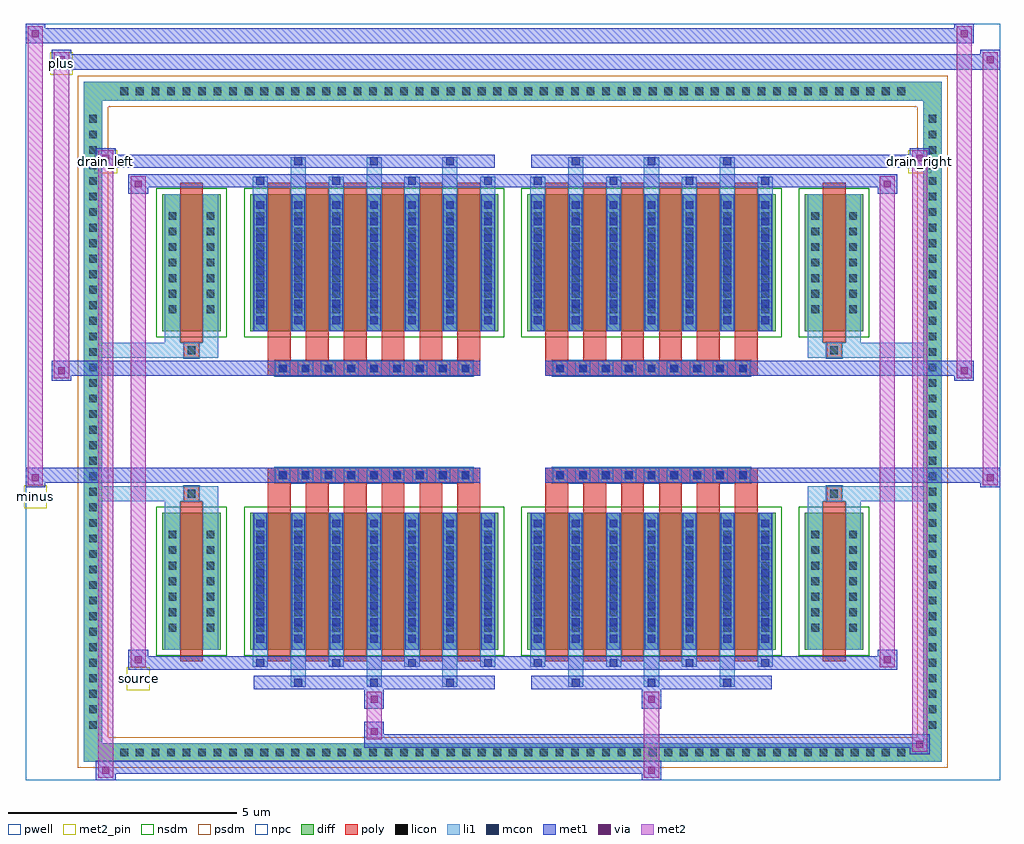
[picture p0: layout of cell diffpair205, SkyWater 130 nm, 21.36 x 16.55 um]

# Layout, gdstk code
import gdstk
lib = gdstk.Library(unit=1e-6, precision=5e-09)
def R(c, l, rs):  # rectangles x0, y0, x1, y1
    for r in rs: c.add(gdstk.rectangle(r[:2], r[2:], *l))
def A(c, l, x, y, w, h, nx, ny, dx, dy):  # array of equal rectangles
    R(c, l, [(x+i*dx, y+j*dy, x+i*dx+w, y+j*dy+h) for i in range(nx) for j in range(ny)])
def P(c, l, *ps):  # polygons
    for p in ps: c.add(gdstk.Polygon(p, *l))
pwell = (64, 44)
diff = (65, 20)
poly = (66, 20)
licon = (66, 44)
li1 = (67, 20)
mcon = (67, 44)
met1 = (68, 20)
via = (68, 44)
met2_pin = (69, 16)
met2 = (69, 20)
nsdm = (93, 44)
psdm = (94, 20)
npc = (95, 20)

diffpair205 = lib.new_cell('diffpair205')
R(diffpair205, pwell, [(-10.66,-7.84,10.66,8.71), (-7.98,-6.03,-0.01,-0.805), (0.01,-6.03,7.98,-0.805), (-7.98,0.805,-0.01,6.03), (0.01,0.805,7.98,6.03)])
A(diffpair205, diff, -8.705, -7.44, 0.41, 0.41, 51, 2, 0.34, 14.47)
A(diffpair205, diff, -9.39, -6.835, 0.41, 0.41, 1, 40, 0, 0.34)
A(diffpair205, diff, 8.98, -6.835, 0.41, 0.41, 1, 40, 0, 0.34)
R(diffpair205, diff, [(-8.705,-7.44,8.705,-7.03), (-9.39,-6.835,-8.98,6.835), (8.98,-6.835,9.39,6.835), (-7.67,-4.985,-6.39,-1.985), (-5.75,-4.985,-0.32,-1.985), (0.32,-4.985,5.75,-1.985), (6.39,-4.985,7.67,-1.985), (-7.67,1.985,-6.39,4.985), (-5.75,1.985,-0.32,4.985), (0.32,1.985,5.75,4.985), (6.39,1.985,7.67,4.985), (-8.705,7.03,8.705,7.44)])
P(diffpair205, diff, [(9.39,7.44),(-9.39,7.44),(-9.39,-7.03),(-8.98,-7.03),(-8.98,7.03),(8.98,7.03),(8.98,-7.03),(-8.98,-7.03),(-9.39,-7.03),(-9.39,-7.44),(9.39,-7.44)])
A(diffpair205, poly, -5.36, -5.235, 0.5, 3.5, 6, 2, 0.83, 6.97)
A(diffpair205, poly, 0.71, -5.235, 0.5, 3.5, 6, 2, 0.83, 6.97)
A(diffpair205, poly, -5.36, -1.735, 0.5, 0.4, 6, 2, 0.83, 3.07)
A(diffpair205, poly, 0.71, -1.735, 0.5, 0.4, 6, 2, 0.83, 3.07)
A(diffpair205, poly, -5.2, -1.335, 0.33, 0.33, 9, 2, 0.5, 2.34)
A(diffpair205, poly, 0.87, -1.335, 0.33, 0.33, 9, 2, 0.5, 2.34)
R(diffpair205, poly, [(-7.28,-5.235,-6.78,-1.735), (6.78,-5.235,7.28,-1.735), (-7.195,-1.735,-6.865,-1.405), (-7.195,-1.735,-6.865,-1.405), (6.865,-1.735,7.195,-1.405), (6.865,-1.735,7.195,-1.405), (-5.36,-1.335,-0.71,-1.005), (0.71,-1.335,5.36,-1.005), (-5.36,1.005,-0.71,1.335), (0.71,1.005,5.36,1.335), (-7.195,1.405,-6.865,1.735), (-7.195,1.405,-6.865,1.735), (6.865,1.405,7.195,1.735), (6.865,1.405,7.195,1.735), (-7.28,1.735,-6.78,5.235), (6.78,1.735,7.28,5.235)])
A(diffpair205, licon, -8.585, -7.32, 0.17, 0.17, 51, 2, 0.34, 14.47)
A(diffpair205, licon, -9.27, -6.715, 0.17, 0.17, 1, 40, 0, 0.34)
A(diffpair205, licon, 9.1, -6.715, 0.17, 0.17, 1, 40, 0, 0.34)
A(diffpair205, licon, -7.53, -4.59, 0.17, 0.17, 1, 7, 0, 0.34)
A(diffpair205, licon, -6.7, -4.59, 0.17, 0.17, 1, 7, 0, 0.34)
A(diffpair205, licon, -5.61, -4.59, 0.17, 0.17, 7, 7, 0.83, 0.34)
A(diffpair205, licon, 0.46, -4.59, 0.17, 0.17, 7, 7, 0.83, 0.34)
A(diffpair205, licon, 6.53, -4.59, 0.17, 0.17, 1, 7, 0, 0.34)
A(diffpair205, licon, 7.36, -4.59, 0.17, 0.17, 1, 7, 0, 0.34)
A(diffpair205, licon, -5.12, -1.255, 0.17, 0.17, 9, 2, 0.5, 2.34)
A(diffpair205, licon, 0.95, -1.255, 0.17, 0.17, 9, 2, 0.5, 2.34)
A(diffpair205, licon, -7.53, 2.38, 0.17, 0.17, 1, 7, 0, 0.34)
A(diffpair205, licon, -6.7, 2.38, 0.17, 0.17, 1, 7, 0, 0.34)
A(diffpair205, licon, -5.61, 2.38, 0.17, 0.17, 7, 7, 0.83, 0.34)
A(diffpair205, licon, 0.46, 2.38, 0.17, 0.17, 7, 7, 0.83, 0.34)
A(diffpair205, licon, 6.53, 2.38, 0.17, 0.17, 1, 7, 0, 0.34)
A(diffpair205, licon, 7.36, 2.38, 0.17, 0.17, 1, 7, 0, 0.34)
R(diffpair205, licon, [(-7.115,-1.655,-6.945,-1.485), (6.945,-1.655,7.115,-1.485), (-7.115,1.485,-6.945,1.655), (6.945,1.485,7.115,1.655)])
A(diffpair205, li1, -8.665, -7.4, 0.33, 0.33, 51, 2, 0.34, 14.47)
A(diffpair205, li1, -9.35, -6.795, 0.33, 0.33, 1, 40, 0, 0.34)
A(diffpair205, li1, 9.02, -6.795, 0.33, 0.33, 1, 40, 0, 0.34)
A(diffpair205, li1, -4.86, -5.79, 0.33, 0.805, 3, 2, 1.66, 10.775)
A(diffpair205, li1, -4.78, -5.79, 0.17, 0.17, 3, 2, 1.66, 11.41)
A(diffpair205, li1, 1.21, -5.79, 0.33, 0.805, 3, 2, 1.66, 10.775)
A(diffpair205, li1, 1.29, -5.79, 0.17, 0.17, 3, 2, 1.66, 11.41)
A(diffpair205, li1, -5.69, -5.36, 0.33, 0.375, 4, 2, 1.66, 10.345)
A(diffpair205, li1, -5.61, -5.36, 0.17, 0.17, 4, 2, 1.66, 10.55)
A(diffpair205, li1, 0.38, -5.36, 0.33, 0.375, 4, 2, 1.66, 10.345)
A(diffpair205, li1, 0.46, -5.36, 0.17, 0.17, 4, 2, 1.66, 10.55)
A(diffpair205, li1, -5.69, -4.985, 0.33, 3, 7, 2, 0.83, 6.97)
A(diffpair205, li1, 0.38, -4.985, 0.33, 3, 7, 2, 0.83, 6.97)
A(diffpair205, li1, -5.61, -4.83, 0.17, 0.17, 7, 8, 0.83, 0.36)
A(diffpair205, li1, -5.61, -4.83, 0.17, 2.69, 7, 2, 0.83, 6.97)
A(diffpair205, li1, 0.46, -4.83, 0.17, 0.17, 7, 8, 0.83, 0.36)
A(diffpair205, li1, 0.46, -4.83, 0.17, 2.69, 7, 2, 0.83, 6.97)
A(diffpair205, li1, -7.61, -4.67, 0.33, 0.33, 1, 7, 0, 0.34)
A(diffpair205, li1, -6.78, -4.67, 0.33, 0.33, 1, 7, 0, 0.34)
A(diffpair205, li1, -5.69, -4.67, 0.33, 0.33, 7, 7, 0.83, 0.34)
A(diffpair205, li1, 0.38, -4.67, 0.33, 0.33, 7, 7, 0.83, 0.34)
A(diffpair205, li1, 6.45, -4.67, 0.33, 0.33, 1, 7, 0, 0.34)
A(diffpair205, li1, 7.28, -4.67, 0.33, 0.33, 1, 7, 0, 0.34)
A(diffpair205, li1, -5.2, -1.335, 0.33, 0.33, 9, 2, 0.5, 2.34)
A(diffpair205, li1, 0.87, -1.335, 0.33, 0.33, 9, 2, 0.5, 2.34)
A(diffpair205, li1, -5.61, 2.14, 0.17, 0.17, 7, 8, 0.83, 0.36)
A(diffpair205, li1, 0.46, 2.14, 0.17, 0.17, 7, 8, 0.83, 0.36)
A(diffpair205, li1, -7.61, 2.3, 0.33, 0.33, 1, 7, 0, 0.34)
A(diffpair205, li1, -6.78, 2.3, 0.33, 0.33, 1, 7, 0, 0.34)
A(diffpair205, li1, -5.69, 2.3, 0.33, 0.33, 7, 7, 0.83, 0.34)
A(diffpair205, li1, 0.38, 2.3, 0.33, 0.33, 7, 7, 0.83, 0.34)
A(diffpair205, li1, 6.45, 2.3, 0.33, 0.33, 1, 7, 0, 0.34)
A(diffpair205, li1, 7.28, 2.3, 0.33, 0.33, 1, 7, 0, 0.34)
R(diffpair205, li1, [(-9.39,-7.44,-8.98,-7.03), (-9.39,-7.44,-8.98,-7.03), (-8.98,-7.44,8.98,-7.03), (8.98,-7.44,9.39,-7.03), (8.98,-7.44,9.39,-7.03), (-9.39,-7.03,-8.98,7.03), (8.98,-7.03,9.39,7.03), (-7.61,-4.985,-7.28,-1.985), (-6.78,-4.985,-6.45,-1.985), (6.45,-4.985,6.78,-1.985), (7.28,-4.985,7.61,-1.985), (-7.61,-1.985,-7.28,-1.405), (-6.78,-1.985,-6.45,-1.405), (6.45,-1.985,6.78,-1.405), (7.28,-1.985,7.61,-1.405), (-9.39,-1.735,-7.195,-1.405), (-7.61,-1.735,-7.195,-1.405), (-7.195,-1.735,-6.865,-1.405), (-6.865,-1.735,-6.45,-1.405), (6.45,-1.735,6.865,-1.405), (6.865,-1.735,7.195,-1.405), (6.865,-1.735,9.39,-1.405), (7.195,-1.735,7.61,-1.405), (-9.39,1.405,-7.195,1.735), (-7.61,1.405,-7.195,1.735), (-7.61,1.405,-7.28,1.985), (-7.195,1.405,-6.865,1.735), (-6.865,1.405,-6.45,1.735), (-6.78,1.405,-6.45,1.985), (6.45,1.405,6.865,1.735), (6.45,1.405,6.78,1.985), (6.865,1.405,7.195,1.735), (6.865,1.405,9.39,1.735), (7.195,1.405,7.61,1.735), (7.28,1.405,7.61,1.985), (-7.61,1.985,-7.28,4.985), (-6.78,1.985,-6.45,4.985), (6.45,1.985,6.78,4.985), (7.28,1.985,7.61,4.985), (-9.39,7.03,-8.98,7.44), (-9.39,7.03,-8.98,7.44), (-8.98,7.03,8.98,7.44), (8.98,7.03,9.39,7.44), (8.98,7.03,9.39,7.44)])
A(diffpair205, mcon, -4.78, -5.79, 0.17, 0.17, 3, 2, 1.66, 11.41)
A(diffpair205, mcon, 1.29, -5.79, 0.17, 0.17, 3, 2, 1.66, 11.41)
A(diffpair205, mcon, -5.61, -5.36, 0.17, 0.17, 4, 2, 1.66, 10.55)
A(diffpair205, mcon, 0.46, -5.36, 0.17, 0.17, 4, 2, 1.66, 10.55)
A(diffpair205, mcon, -5.61, -4.83, 0.17, 0.17, 7, 8, 0.83, 0.36)
A(diffpair205, mcon, 0.46, -4.83, 0.17, 0.17, 7, 8, 0.83, 0.36)
A(diffpair205, mcon, -5.12, -1.255, 0.17, 0.17, 9, 2, 0.5, 2.34)
A(diffpair205, mcon, 0.95, -1.255, 0.17, 0.17, 9, 2, 0.5, 2.34)
A(diffpair205, mcon, -5.61, 2.14, 0.17, 0.17, 7, 8, 0.83, 0.36)
A(diffpair205, mcon, 0.46, 2.14, 0.17, 0.17, 7, 8, 0.83, 0.36)
A(diffpair205, met1, -4.84, -5.85, 0.29, 0.29, 3, 2, 1.66, 11.41)
A(diffpair205, met1, 1.23, -5.85, 0.29, 0.29, 3, 2, 1.66, 11.41)
A(diffpair205, met1, -5.67, -5.42, 0.29, 0.29, 4, 2, 1.66, 10.55)
A(diffpair205, met1, 0.4, -5.42, 0.29, 0.29, 4, 2, 1.66, 10.55)
A(diffpair205, met1, -5.67, -4.985, 0.29, 3, 7, 2, 0.83, 6.97)
A(diffpair205, met1, 0.4, -4.985, 0.29, 3, 7, 2, 0.83, 6.97)
A(diffpair205, met1, -5.67, -4.89, 0.29, 0.29, 7, 8, 0.83, 0.36)
A(diffpair205, met1, 0.4, -4.89, 0.29, 0.29, 7, 8, 0.83, 0.36)
A(diffpair205, met1, -5.18, -1.315, 0.29, 0.29, 9, 2, 0.5, 2.34)
A(diffpair205, met1, 0.89, -1.315, 0.29, 0.29, 9, 2, 0.5, 2.34)
A(diffpair205, met1, -5.67, 2.08, 0.29, 0.29, 7, 8, 0.83, 0.36)
A(diffpair205, met1, 0.4, 2.08, 0.29, 0.29, 7, 8, 0.83, 0.36)
R(diffpair205, met1, [(-9.12,-7.84,-8.69,-7.41), (2.82,-7.84,3.25,-7.41), (-9.12,-7.7,3.25,-7.41), (8.69,-7.27,9.12,-6.84), (-3.25,-7.13,9.12,-6.84), (-3.25,-6.99,-2.82,-6.56), (-3.25,-6.28,-2.82,-5.85), (2.82,-6.28,3.25,-5.85), (-5.67,-5.85,-0.4,-5.56), (0.4,-5.85,5.67,-5.56), (-8.41,-5.42,-7.98,-4.99), (-8.41,-5.42,-5.67,-5.13), (-5.67,-5.42,-0.4,-5.13), (-0.4,-5.42,0.4,-5.13), (0.4,-5.42,5.67,-5.13), (5.67,-5.42,8.41,-5.13), (7.98,-5.42,8.41,-4.99), (-10.66,-1.435,-10.23,-1.005), (10.23,-1.435,10.66,-1.005), (-10.66,-1.335,-0.71,-1.005), (-5.36,-1.335,-0.71,-1.005), (0.71,-1.335,5.36,-1.005), (0.71,-1.335,10.66,-1.005), (-10.09,0.905,-9.66,1.335), (9.66,0.905,10.09,1.335), (-10.09,1.005,-5.36,1.335), (-5.36,1.005,-0.71,1.335), (0.71,1.005,5.36,1.335), (5.36,1.005,10.09,1.335), (-8.41,4.99,-7.98,5.42), (7.98,4.99,8.41,5.42), (-8.41,5.13,-5.67,5.42), (-5.67,5.13,-0.4,5.42), (-0.4,5.13,0.4,5.42), (0.4,5.13,5.67,5.42), (5.67,5.13,8.41,5.42), (-9.12,5.56,-8.69,5.99), (-9.12,5.56,-5.67,5.85), (-5.67,5.56,-0.4,5.85), (0.4,5.56,5.67,5.85), (5.67,5.56,9.12,5.85), (8.69,5.56,9.12,5.99), (-10.09,7.71,-9.66,8.14), (-10.09,7.71,-7.98,8.04), (-7.98,7.71,7.98,8.04), (7.98,7.71,10.66,8.04), (10.23,7.71,10.66,8.14), (-10.66,8.28,-10.23,8.71), (-10.66,8.28,-7.98,8.61), (-7.98,8.28,7.98,8.61), (7.98,8.28,10.09,8.61), (9.66,8.28,10.09,8.71)])
R(diffpair205, via, [(-8.98,-7.7,-8.83,-7.55), (2.96,-7.7,3.11,-7.55), (8.83,-7.13,8.98,-6.98), (-3.11,-6.85,-2.96,-6.7), (-3.11,-6.14,-2.96,-5.99), (2.96,-6.14,3.11,-5.99), (-8.27,-5.28,-8.12,-5.13), (8.12,-5.28,8.27,-5.13), (-10.52,-1.295,-10.37,-1.145), (10.37,-1.295,10.52,-1.145), (-9.95,1.045,-9.8,1.195), (9.8,1.045,9.95,1.195), (-8.27,5.13,-8.12,5.28), (8.12,5.13,8.27,5.28), (-8.98,5.7,-8.83,5.85), (8.83,5.7,8.98,5.85), (-9.95,7.85,-9.8,8), (10.37,7.85,10.52,8), (-10.52,8.42,-10.37,8.57), (9.8,8.42,9.95,8.57)])
R(diffpair205, met2_pin, [(-8.445,-5.87,-7.945,-5.37), (-10.695,-1.885,-10.195,-1.385), (-9.155,5.44,-8.655,5.94), (8.655,5.44,9.155,5.94), (-10.125,7.59,-9.625,8.09)])
R(diffpair205, met2, [(-9.07,-7.79,-8.74,-7.46), (-9.07,-7.79,-8.74,5.94), (2.87,-7.79,3.2,-7.46), (2.87,-7.46,3.2,-6.23), (8.74,-7.22,9.07,-6.89), (8.74,-7.22,9.07,5.94), (-3.2,-6.94,-2.87,-6.61), (-3.2,-6.61,-2.87,-6.23), (-3.2,-6.23,-2.87,-5.9), (2.87,-6.23,3.2,-5.9), (-8.36,-5.37,-8.03,-5.04), (-8.36,-5.37,-8.03,5.37), (8.03,-5.37,8.36,-5.04), (8.03,-5.37,8.36,5.37), (-10.61,-1.385,-10.28,-1.055), (-10.61,-1.385,-10.28,8.66), (10.28,-1.385,10.61,-1.055), (10.28,-1.385,10.61,8.09), (-10.04,0.955,-9.71,1.285), (-10.04,0.955,-9.71,8.09), (9.71,0.955,10.04,1.285), (9.71,0.955,10.04,8.66), (-8.36,5.04,-8.03,5.37), (8.03,5.04,8.36,5.37), (-9.07,5.61,-8.74,5.94), (8.74,5.61,9.07,5.94), (-10.04,7.76,-9.71,8.09), (10.28,7.76,10.61,8.09), (-10.61,8.33,-10.28,8.66), (9.71,8.33,10.04,8.66)])
P(diffpair205, met2, [(10.61,-1.385),(10.61,-1.385),(10.61,-1.055),(10.61,-1.055)],
  [(10.61,7.76),(10.61,7.76),(10.61,8.09),(10.61,8.09)],
  [(-10.28,-1.385),(-10.28,-1.385),(-10.28,-1.055),(-10.28,-1.055)],
  [(-10.28,8.33),(-10.28,8.33),(-10.28,8.66),(-10.28,8.66)],
  [(10.04,0.955),(10.04,0.955),(10.04,1.285),(10.04,1.285)],
  [(10.04,8.33),(10.04,8.33),(10.04,8.66),(10.04,8.66)],
  [(-9.71,0.955),(-9.71,0.955),(-9.71,1.285),(-9.71,1.285)],
  [(-9.71,7.76),(-9.71,7.76),(-9.71,8.09),(-9.71,8.09)],
  [(-8.74,-7.79),(-8.74,-7.79),(-8.74,-7.46),(-8.74,-7.46)],
  [(-8.74,5.61),(-8.74,5.61),(-8.74,5.94),(-8.74,5.94)],
  [(9.07,-7.22),(9.07,-7.22),(9.07,-6.89),(9.07,-6.89)],
  [(9.07,5.61),(9.07,5.61),(9.07,5.94),(9.07,5.94)],
  [(-8.03,-5.37),(-8.03,-5.37),(-8.03,-5.04),(-8.03,-5.04)],
  [(-8.03,5.04),(-8.03,5.04),(-8.03,5.37),(-8.03,5.37)],
  [(8.36,-5.37),(8.36,-5.37),(8.36,-5.04),(8.36,-5.04)],
  [(8.36,5.04),(8.36,5.04),(8.36,5.37),(8.36,5.37)])
R(diffpair205, nsdm, [(-7.8,-5.115,-6.26,-1.855), (-5.88,-5.115,-0.19,-1.855), (0.19,-5.115,5.88,-1.855), (6.26,-5.115,7.8,-1.855), (-7.8,1.855,-6.26,5.115), (-5.88,1.855,-0.19,5.115), (0.19,1.855,5.88,5.115), (6.26,1.855,7.8,5.115)])
P(diffpair205, psdm, [(9.52,7.57),(-9.52,7.57),(-9.52,-6.9),(-8.85,-6.9),(-8.85,6.9),(8.85,6.9),(8.85,-6.9),(-8.85,-6.9),(-9.52,-6.9),(-9.52,-7.57),(9.52,-7.57)])
A(diffpair205, npc, -5.22, -1.355, 0.37, 0.37, 9, 2, 0.5, 2.34)
A(diffpair205, npc, 0.85, -1.355, 0.37, 0.37, 9, 2, 0.5, 2.34)
R(diffpair205, npc, [(-7.215,-1.755,-6.845,-1.385), (6.845,-1.755,7.215,-1.385), (-5.22,-1.355,-4.35,-0.985), (-5.22,-1.355,-4.35,-0.985), (-4.72,-1.355,-3.85,-0.985), (-4.72,-1.355,-3.85,-0.985), (-4.22,-1.355,-3.35,-0.985), (-4.22,-1.355,-3.35,-0.985), (-3.72,-1.355,-2.85,-0.985), (-3.72,-1.355,-2.85,-0.985), (-3.22,-1.355,-2.35,-0.985), (-3.22,-1.355,-2.35,-0.985), (-2.72,-1.355,-1.85,-0.985), (-2.72,-1.355,-1.85,-0.985), (-2.22,-1.355,-1.35,-0.985), (-2.22,-1.355,-1.35,-0.985), (-1.72,-1.355,-0.85,-0.985), (-1.72,-1.355,-0.85,-0.985), (0.85,-1.355,1.72,-0.985), (0.85,-1.355,1.72,-0.985), (1.35,-1.355,2.22,-0.985), (1.35,-1.355,2.22,-0.985), (1.85,-1.355,2.72,-0.985), (1.85,-1.355,2.72,-0.985), (2.35,-1.355,3.22,-0.985), (2.35,-1.355,3.22,-0.985), (2.85,-1.355,3.72,-0.985), (2.85,-1.355,3.72,-0.985), (3.35,-1.355,4.22,-0.985), (3.35,-1.355,4.22,-0.985), (3.85,-1.355,4.72,-0.985), (3.85,-1.355,4.72,-0.985), (4.35,-1.355,5.22,-0.985), (4.35,-1.355,5.22,-0.985), (-5.22,0.985,-4.35,1.355), (-5.22,0.985,-4.35,1.355), (-4.72,0.985,-3.85,1.355), (-4.72,0.985,-3.85,1.355), (-4.22,0.985,-3.35,1.355), (-4.22,0.985,-3.35,1.355), (-3.72,0.985,-2.85,1.355), (-3.72,0.985,-2.85,1.355), (-3.22,0.985,-2.35,1.355), (-3.22,0.985,-2.35,1.355), (-2.72,0.985,-1.85,1.355), (-2.72,0.985,-1.85,1.355), (-2.22,0.985,-1.35,1.355), (-2.22,0.985,-1.35,1.355), (-1.72,0.985,-0.85,1.355), (-1.72,0.985,-0.85,1.355), (0.85,0.985,1.72,1.355), (0.85,0.985,1.72,1.355), (1.35,0.985,2.22,1.355), (1.35,0.985,2.22,1.355), (1.85,0.985,2.72,1.355), (1.85,0.985,2.72,1.355), (2.35,0.985,3.22,1.355), (2.35,0.985,3.22,1.355), (2.85,0.985,3.72,1.355), (2.85,0.985,3.72,1.355), (3.35,0.985,4.22,1.355), (3.35,0.985,4.22,1.355), (3.85,0.985,4.72,1.355), (3.85,0.985,4.72,1.355), (4.35,0.985,5.22,1.355), (4.35,0.985,5.22,1.355), (-7.215,1.385,-6.845,1.755), (6.845,1.385,7.215,1.755)])
diffpair205.add(gdstk.Label('minus', (-10.445,-1.635), layer=69, texttype=5))
diffpair205.add(gdstk.Label('drain_right', (8.905,5.69), layer=69, texttype=5))
diffpair205.add(gdstk.Label('drain_left', (-8.905,5.69), layer=69, texttype=5))
diffpair205.add(gdstk.Label('source', (-8.195,-5.62), layer=69, texttype=5))
diffpair205.add(gdstk.Label('plus', (-9.875,7.84), layer=69, texttype=5))

lib.write_gds('diffpair205.gds')
